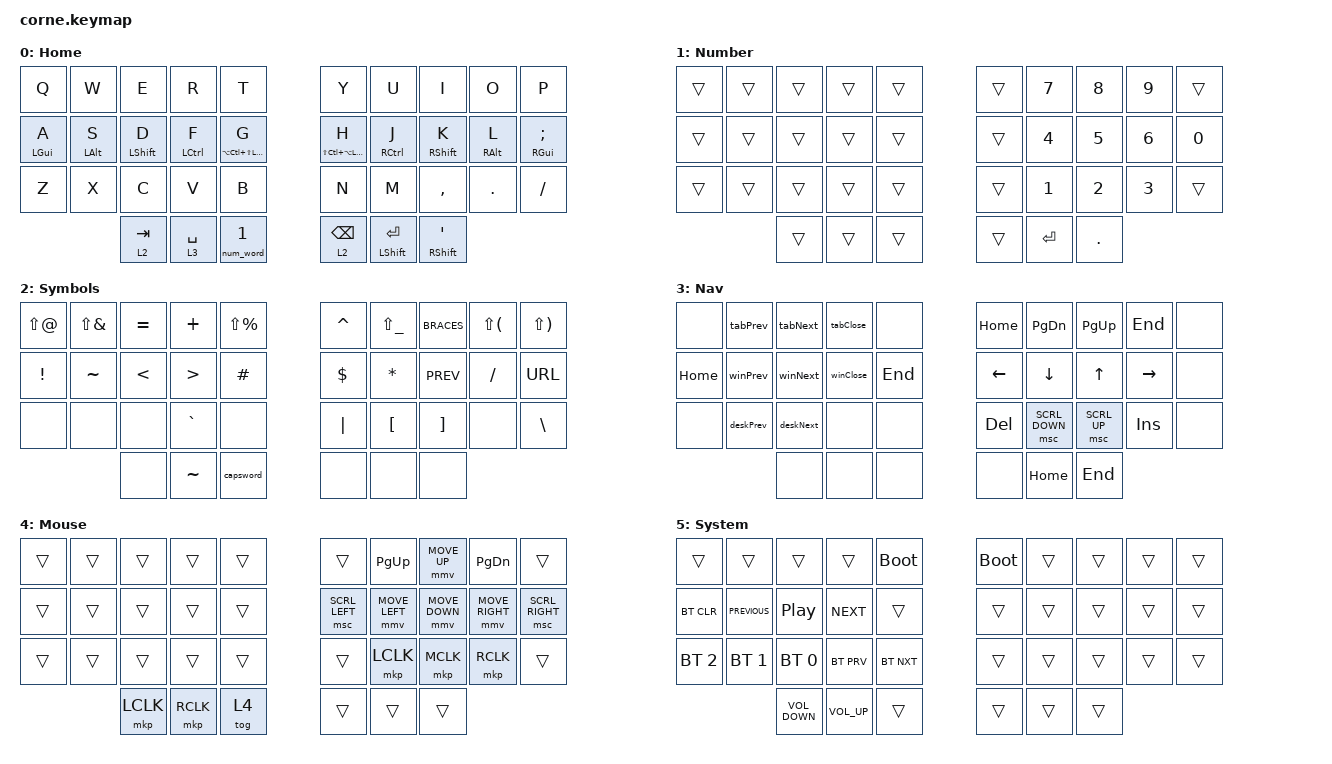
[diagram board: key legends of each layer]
/*
 * Copyright (c) 2020 The ZMK Contributors
 *
 * SPDX-License-Identifier: MIT
 */

#include <behaviors/num_word.dtsi>
#include <behaviors.dtsi>
#include <dt-bindings/zmk/bt.h>
#include <dt-bindings/zmk/keys.h>
#include <dt-bindings/zmk/pointing.h>

#define DEFAULT_L 0
#define SYMBOLS_L 1
#define ARROWS_L  2
#define NUMBERS_L 3

/ {
    chosen { zmk,matrix_transform = &five_column_transform; };

    behaviors {
        hm: homerow_mods {
            compatible = "zmk,behavior-hold-tap";
            label = "HOMEROW_MODS";
            #binding-cells = <2>;
            tapping-term-ms = <300>;
            quick-tap-ms = <200>;
            flavor = "tap-preferred";
            bindings = <&kp>, <&kp>;
        };

        hold_tap: hold_tap {
            compatible = "zmk,behavior-hold-tap";
            label = "HOLD_TAP";
            bindings = <&kp>, <&kp>;

            #binding-cells = <2>;
            tapping-term-ms = <200>;
            flavor = "hold-preferred";
        };

        tddash: tddash {
            compatible = "zmk,behavior-tap-dance";
            label = "TDDASH";
            #binding-cells = <0>;
            bindings = <&kp COMMA>, <&kp MINUS>;
        };

        tdunder: tdunder {
            compatible = "zmk,behavior-tap-dance";
            label = "TDUNDER";
            #binding-cells = <0>;
            bindings = <&kp SLASH>, <&kp UNDERSCORE>;
        };

        capsword: capsword {
            compatible = "zmk,behavior-caps-word";
            label = "CAPSWORD";
            #binding-cells = <0>;
            continue-list = <UNDERSCORE MINUS>;
        };
    };

    combos {
        compatible = "zmk,combos";

        Copy {
            bindings = <&kp LC(C)>;
            key-positions = <21 22>;
        };

        Paste {
            bindings = <&kp LC(V)>;
            key-positions = <23 22>;
        };

        Cut {
            bindings = <&kp LC(X)>;
            key-positions = <21 23>;
        };

        MiddleClickPaste {
            bindings = <&mkp MCLK>;
            key-positions = <21 22 23>;
        };

        Backspace {
            bindings = <&kp BACKSPACE>;
            key-positions = <16 17>;
        };

        Lparen {
            bindings = <&kp LEFT_PARENTHESIS>;
            key-positions = <20 21>;
        };

        Rparen {
            bindings = <&kp RIGHT_PARENTHESIS>;
            key-positions = <29 28>;
        };

        btclear {
            bindings = <&bt BT_CLR_ALL>;
            key-positions = <29 0>;
        };

        escape-combo {
            bindings = <&kp ESCAPE>;
            key-positions = <13 12>;
        };

        dash {
            bindings = <&kp MINUS>;
            key-positions = <26 27>;
        };

        underscore {
            bindings = <&kp UNDERSCORE>;
            key-positions = <27 28>;
        };

        mouselayer {
            bindings = <&tog 4>;
            key-positions = <1 3>;
        };

        systemlayer {
            bindings = <&mo 5>;
            key-positions = <0 9>;
        };

        baselayer {
            bindings = <&to 0>;
            key-positions = <14 13>;
        };
    };

    macros {
        BRACES: PGREP {
            compatible = "zmk,behavior-macro";
            #binding-cells = <0>;
            bindings = <&kp LEFT_BRACKET &kp RIGHT_BRACKET &kp LEFT>;
            label = "PGREP";
        };

        URL: URL {
            compatible = "zmk,behavior-macro";
            #binding-cells = <0>;
            bindings = <&kp LEFT_BRACKET &kp PERIOD &kp RIGHT_BRACKET>;
            label = "URL";
        };

        PREV: PREV {
            compatible = "zmk,behavior-macro";
            #binding-cells = <0>;
            bindings = <&kp DLLR &kp UNDER>;
            label = "PREV";
        };

        winClose: winClose {
            compatible = "zmk,behavior-macro";
            #binding-cells = <0>;
            bindings = <&kp LA(F4)>;
            label = "WINCLOSE";
        };

        tabNext: tabNext {
            compatible = "zmk,behavior-macro";
            #binding-cells = <0>;
            bindings = <&kp LC(TAB)>;
            label = "TABNEXT";
        };

        tabPrev: tabPrev {
            compatible = "zmk,behavior-macro";
            #binding-cells = <0>;
            bindings = <&kp LC(LS(TAB))>;
            label = "TABPREV";
        };

        tabClose: tabClose {
            compatible = "zmk,behavior-macro";
            #binding-cells = <0>;
            bindings = <&kp LC(F4)>;
            label = "TABCLOSE";
        };

        deskNext: deskNext {
            compatible = "zmk,behavior-macro";
            #binding-cells = <0>;
            bindings = <&kp LC(LG(RIGHT))>;
            label = "DESKNEXT";
        };

        deskPrev: deskPrev {
            compatible = "zmk,behavior-macro";
            #binding-cells = <0>;
            bindings = <&kp LC(LG(LEFT))>;
            label = "DESKPREV";
        };

        winNext: winNext {
            compatible = "zmk,behavior-macro";
            #binding-cells = <0>;
            bindings = <&kp LA(TAB)>;
            label = "WINNEXT";
        };

        winPrev: winPrev {
            compatible = "zmk,behavior-macro";
            #binding-cells = <0>;
            bindings = <&kp LA(LS(TAB))>;
            label = "WINPREV";
        };
    };

    keymap {
        compatible = "zmk,keymap";

        default_layer {
            label = "Home";
            bindings = <
  &kp Q           &kp W           &kp E             &kp R        &kp T                         &kp Y                       &kp U                 &kp I                      &kp O            &kp P
  &hm LEFT_GUI A  &hm LEFT_ALT S  &hm LEFT_SHIFT D  &hm LCTRL F  &hm LA(LC(LS(LEFT_GUI))) G    &hm LS(LC(LA(LEFT_GUI))) H  &hm RCTRL J           &hm RIGHT_SHIFT K          &hm RIGHT_ALT L  &hm RIGHT_GUI SEMICOLON
  &kp Z           &kp X           &kp C             &kp V        &kp B                         &kp N                       &kp M                 &kp COMMA                  &kp DOT          &kp SLASH
                                  &lt 2 TAB         &lt 3 SPACE  &num_word 1                   &lt 2 BACKSPACE             &mt LEFT_SHIFT ENTER  &hold_tap RIGHT_SHIFT SQT
            >;
        };

        number_layer {
            label = "Number";
            bindings = <
  &trans  &trans  &trans  &trans  &trans    &trans  &kp N7     &kp N8      &kp N9  &trans
  &trans  &trans  &trans  &trans  &trans    &trans  &kp N4     &kp N5      &kp N6  &kp N0
  &trans  &trans  &trans  &trans  &trans    &trans  &kp N1     &kp N2      &kp N3  &trans
                  &trans  &trans  &trans    &trans  &kp ENTER  &kp PERIOD
            >;
        };

        symbol_layer {
            label = "Symbols";
            bindings = <
  &kp LS(AT_SIGN)  &kp LS(AMPERSAND)  &kp EQUAL      &kp PLUS          &kp LS(PERCENT)    &kp CARET   &kp LS(UNDERSCORE)  &BRACES            &kp LS(LEFT_PARENTHESIS)  &kp LS(RIGHT_PARENTHESIS)
  &kp EXCL         &kp TILDE          &kp LESS_THAN  &kp GREATER_THAN  &kp HASH           &kp DOLLAR  &kp ASTERISK        &PREV              &kp SLASH                 &URL
  &none            &none              &none          &kp GRAVE         &none              &kp PIPE    &kp LEFT_BRACKET    &kp RIGHT_BRACKET  &none                     &kp BACKSLASH
                                      &none          &kp TILDE         &capsword          &none       &none               &none
            >;
        };

        nav_layer {
            label = "Nav";
            bindings = <
  &none     &tabPrev   &tabNext   &tabClose  &none      &kp HOME        &kp PAGE_DOWN   &kp PAGE_UP   &kp END     &none
  &kp HOME  &winPrev   &winNext   &winClose  &kp END    &kp LEFT_ARROW  &kp DOWN        &kp UP        &kp RIGHT   &none
  &none     &deskPrev  &deskNext  &none      &none      &kp DELETE      &msc SCRL_DOWN  &msc SCRL_UP  &kp INSERT  &none
                       &none      &none      &none      &none           &kp HOME        &kp END
            >;
        };

        mouse_layer {
            bindings = <
  &trans  &trans  &trans     &trans     &trans    &trans          &kp PG_UP       &mmv MOVE_UP    &kp PAGE_DOWN    &trans
  &trans  &trans  &trans     &trans     &trans    &msc SCRL_LEFT  &mmv MOVE_LEFT  &mmv MOVE_DOWN  &mmv MOVE_RIGHT  &msc SCRL_RIGHT
  &trans  &trans  &trans     &trans     &trans    &trans          &mkp LCLK       &mkp MCLK       &mkp RCLK        &trans
                  &mkp LCLK  &mkp RCLK  &tog 4    &trans          &trans          &trans
            >;

            label = "Mouse";
        };

        system_layer {
            bindings = <
  &trans        &trans          &trans             &trans           &bootloader    &bootloader  &trans  &trans  &trans  &trans
  &bt BT_CLR    &kp C_PREVIOUS  &kp C_PLAY_PAUSE   &kp C_NEXT       &trans         &trans       &trans  &trans  &trans  &trans
  &bt BT_SEL 2  &bt BT_SEL 1    &bt BT_SEL 0       &bt BT_PRV       &bt BT_NXT     &trans       &trans  &trans  &trans  &trans
                                &kp C_VOLUME_DOWN  &kp C_VOLUME_UP  &trans         &trans       &trans  &trans
            >;

            label = "System";
        };
    };

    conditional_layers { compatible = "zmk,conditional-layers"; };
};
